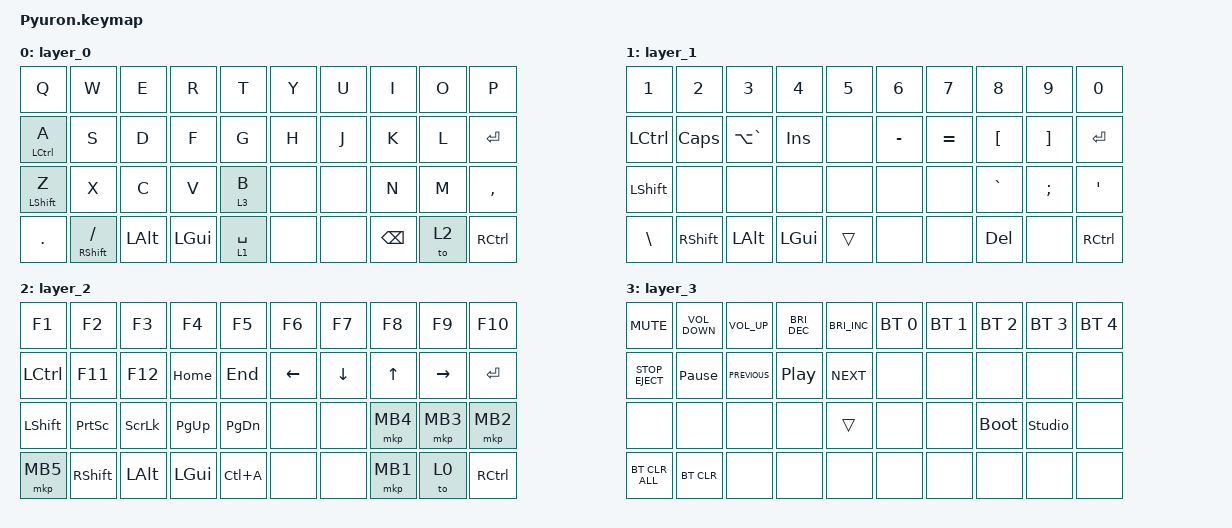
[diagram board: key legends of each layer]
#include <behaviors.dtsi>
#include <dt-bindings/zmk/bt.h>
#include <dt-bindings/zmk/keys.h>
#include <dt-bindings/zmk/pointing.h>

#define MOUSE 6

&mt {
    flavor = "balanced";
    quick-tap-ms = <0>;
};

/ {
    combos {
        compatible = "zmk,combos";

        l0_esc {
            bindings = <&kp ESCAPE>;
            key-positions = <0 1>;
            timeout-ms = <20>;
            require-prior-idle-ms = <10>;
            layers = <0>;
        };

        l0_sq {
            bindings = <&kp SINGLE_QUOTE>;
            key-positions = <5 15>;
            timeout-ms = <20>;
            require-prior-idle-ms = <10>;
            layers = <0>;
        };

        l0_dq {
            bindings = <&kp DOUBLE_QUOTES>;
            key-positions = <15 27>;
            timeout-ms = <20>;
            require-prior-idle-ms = <10>;
            layers = <0>;
        };

        l0_colon {
            bindings = <&kp COLON>;
            key-positions = <6 16>;
            timeout-ms = <20>;
            require-prior-idle-ms = <10>;
            layers = <0>;
        };

        l0_semicolon {
            bindings = <&kp SEMICOLON>;
            key-positions = <16 28>;
            timeout-ms = <20>;
            require-prior-idle-ms = <10>;
            layers = <0>;
        };

        l0_eq {
            bindings = <&kp EQUAL>;
            key-positions = <7 17>;
            timeout-ms = <20>;
            require-prior-idle-ms = <10>;
            layers = <0>;
        };

        l0_ex {
            bindings = <&kp EXCLAMATION>;
            key-positions = <17 29>;
            timeout-ms = <20>;
            require-prior-idle-ms = <10>;
            layers = <0>;
        };

        l0_pipe {
            bindings = <&kp PIPE>;
            key-positions = <8 18>;
            timeout-ms = <20>;
            require-prior-idle-ms = <10>;
            layers = <0>;
        };

        l0_and {
            bindings = <&kp AMPERSAND>;
            key-positions = <18 30>;
            timeout-ms = <20>;
            layers = <0>;
            require-prior-idle-ms = <10>;
        };

        l0_bsl {
            bindings = <&kp BACKSLASH>;
            key-positions = <18 16>;
            timeout-ms = <20>;
            require-prior-idle-ms = <10>;
            layers = <0>;
        };

        l0_min {
            bindings = <&kp MINUS>;
            key-positions = <1 11>;
            timeout-ms = <20>;
            require-prior-idle-ms = <10>;
            layers = <0>;
        };

        l0_plus {
            bindings = <&kp PLUS>;
            key-positions = <21 11>;
            timeout-ms = <20>;
            require-prior-idle-ms = <10>;
            layers = <0>;
        };

        l0_hsh {
            bindings = <&kp HASH>;
            key-positions = <2 12>;
            timeout-ms = <20>;
            require-prior-idle-ms = <10>;
            layers = <0>;
        };

        l0_astrk {
            bindings = <&kp ASTERISK>;
            key-positions = <12 22>;
            timeout-ms = <20>;
            require-prior-idle-ms = <10>;
            layers = <0>;
        };

        l0_doll {
            bindings = <&kp DOLLAR>;
            key-positions = <3 13>;
            timeout-ms = <20>;
            require-prior-idle-ms = <10>;
            layers = <0>;
        };

        l0_pc {
            bindings = <&kp PRCNT>;
            key-positions = <13 23>;
            timeout-ms = <20>;
            require-prior-idle-ms = <10>;
            layers = <0>;
        };

        l0_caret {
            bindings = <&kp CARET>;
            key-positions = <4 14>;
            timeout-ms = <20>;
            require-prior-idle-ms = <10>;
            layers = <0>;
        };

        l0_lp {
            bindings = <&kp LEFT_PARENTHESIS>;
            key-positions = <1 2>;
            timeout-ms = <20>;
            require-prior-idle-ms = <10>;
            layers = <0>;
        };

        l0_rp {
            bindings = <&kp RIGHT_PARENTHESIS>;
            key-positions = <2 3>;
            timeout-ms = <20>;
            require-prior-idle-ms = <10>;
            layers = <0>;
        };

        l0_lbt {
            bindings = <&kp LEFT_BRACKET>;
            key-positions = <11 12>;
            timeout-ms = <20>;
            require-prior-idle-ms = <10>;
            layers = <0>;
        };

        l0_rbt {
            bindings = <&kp RIGHT_BRACKET>;
            key-positions = <12 13>;
            timeout-ms = <20>;
            require-prior-idle-ms = <10>;
            layers = <0>;
        };

        l0_lbe {
            bindings = <&kp LEFT_BRACE>;
            key-positions = <21 22>;
            timeout-ms = <20>;
            require-prior-idle-ms = <10>;
            layers = <0>;
        };

        l0_rbe {
            bindings = <&kp RIGHT_BRACE>;
            key-positions = <22 23>;
            timeout-ms = <20>;
            require-prior-idle-ms = <10>;
            layers = <0>;
        };

        l0_gve {
            bindings = <&kp GRAVE>;
            key-positions = <6 8>;
            timeout-ms = <20>;
            require-prior-idle-ms = <10>;
            layers = <0>;
        };

        l0_tab {
            bindings = <&kp TAB>;
            key-positions = <0 2>;
            timeout-ms = <20>;
            require-prior-idle-ms = <10>;
            layers = <0>;
        };
    };

    my_lt: my_lt {
        compatible = "zmk,behavior-hold-tap";
        label = "MY_LT";
        bindings = <&mo>, <&kp>;

        #binding-cells = <2>;
        tapping-term-ms = <300>;
        require-prior-idle-ms = <200>;
        flavor = "tap-preferred";
    };

    my_mt: my_mt {
        compatible = "zmk,behavior-hold-tap";
        label = "MY_MT";
        bindings = <&kp>, <&kp>;

        #binding-cells = <2>;
        tapping-term-ms = <300>;
        require-prior-idle-ms = <200>;
        flavor = "tap-preferred";
    };
};

/ {
    behaviors {
    };

    keymap {
        compatible = "zmk,keymap";

        layer_0 {
            bindings = <
&kp Q                  &kp W                     &kp E         &kp R         &kp T           &kp Y  &kp U  &kp I          &kp O  &kp P
&my_mt LEFT_CONTROL A  &kp S                     &kp D         &kp F         &kp G           &kp H  &kp J  &kp K          &kp L  &kp RET
&my_mt LEFT_SHIFT Z    &kp X                     &kp C         &kp V         &my_lt 3 B      &none  &none  &kp N          &kp M  &kp COMMA
&kp DOT                &my_mt RIGHT_SHIFT SLASH  &kp LEFT_ALT  &kp LEFT_GUI  &my_lt 1 SPACE  &none  &none  &kp BACKSPACE  &to 2  &kp RIGHT_CONTROL
            >;
        };

        layer_1 {
            bindings = <
&kp N1     &kp N2     &kp N3         &kp N4      &kp N5  &kp N6     &kp N7     &kp N8      &kp N9    &kp N0
&kp LCTRL  &kp CAPS   &kp LA(GRAVE)  &kp INSERT  &none   &kp MINUS  &kp EQUAL  &kp LBKT    &kp RBKT  &kp ENTER
&kp LSHFT  &none      &none          &none       &none   &none      &none      &kp GRAVE   &kp SEMI  &kp APOS
&kp BSLH   &kp RSHFT  &kp LALT       &kp LGUI    &trans  &none      &none      &kp DELETE  &none     &kp RCTRL
            >;
        };

        layer_2 {
            bindings = <
&kp F1     &kp F2           &kp F3          &kp F4       &kp F5         &kp F6          &kp F7          &kp F8        &kp F9           &kp F10
&kp LCTRL  &kp F11          &kp F12         &kp HOME     &kp END        &kp LEFT_ARROW  &kp DOWN_ARROW  &kp UP_ARROW  &kp RIGHT_ARROW  &kp ENTER
&kp LSHFT  &kp PRINTSCREEN  &kp SCROLLLOCK  &kp PAGE_UP  &kp PAGE_DOWN  &none           &none           &mkp MB4      &mkp MB3         &mkp MB2
&mkp MB5   &kp RSHFT        &kp LALT        &kp LGUI     &kp LC(A)      &none           &none           &mkp MB1      &to 0            &kp RCTRL
            >;
        };

        layer_3 {
            bindings = <
&kp C_MUTE        &kp C_VOLUME_DOWN  &kp C_VOLUME_UP  &kp C_BRIGHTNESS_DEC  &kp C_BRIGHTNESS_INC  &bt BT_SEL 0  &bt BT_SEL 1  &bt BT_SEL 2  &bt BT_SEL 3    &bt BT_SEL 4
&kp C_STOP_EJECT  &kp PAUSE_BREAK    &kp C_PREVIOUS   &kp C_PP              &kp C_NEXT            &none         &none         &none         &none           &none
&none             &none              &none            &none                 &trans                &none         &none         &bootloader   &studio_unlock  &none
&bt BT_CLR_ALL    &bt BT_CLR         &none            &none                 &none                 &none         &none         &none         &none           &none
            >;
        };
    };
};
